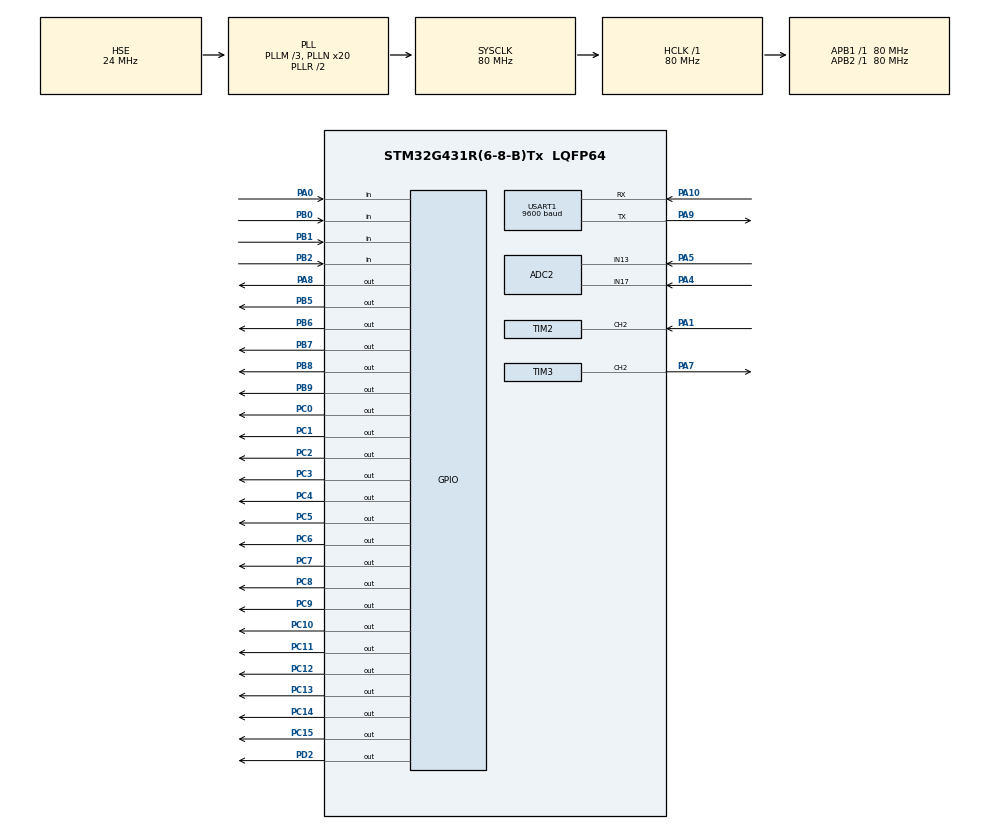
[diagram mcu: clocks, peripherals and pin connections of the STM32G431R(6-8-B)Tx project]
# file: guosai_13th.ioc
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ADC2.Channel-0\#ChannelRegularConversion=ADC_CHANNEL_17
ADC2.Channel-1\#ChannelRegularConversion=ADC_CHANNEL_13
ADC2.NbrOfConversion=2
ADC2.NbrOfConversionFlag=1
ADC2.OffsetNumber-0\#ChannelRegularConversion=ADC_OFFSET_NONE
ADC2.OffsetNumber-1\#ChannelRegularConversion=ADC_OFFSET_NONE
ADC2.Rank-0\#ChannelRegularConversion=1
ADC2.Rank-1\#ChannelRegularConversion=2
ADC2.SamplingTime-0\#ChannelRegularConversion=ADC_SAMPLETIME_640CYCLES_5
ADC2.SamplingTime-1\#ChannelRegularConversion=ADC_SAMPLETIME_640CYCLES_5
Mcu.Family=STM32G4
Mcu.Name=STM32G431R(6-8-B)Tx
Mcu.Package=LQFP64
NVIC.PriorityGroup=NVIC_PRIORITYGROUP_4
NVIC.TIM2_IRQn=true\:0\:0\:false\:false\:true\:true\:true\:true
NVIC.TIM4_IRQn=true\:0\:0\:false\:false\:true\:true\:true\:true
NVIC.USART1_IRQn=true\:0\:0\:false\:false\:true\:true\:true\:true
PA0.GPIO_PuPd=GPIO_PULLUP
PA0.Signal=GPIO_Input
PA1.Signal=S_TIM2_CH2
PA10.Mode=Asynchronous
PA10.Signal=USART1_RX
PA13.Mode=Serial_Wire
PA13.Signal=SYS_JTMS-SWDIO
PA14.Mode=Serial_Wire
PA14.Signal=SYS_JTCK-SWCLK
PA4.Mode=IN17-Single-Ended
PA4.Signal=ADC2_IN17
PA5.Mode=IN13-Single-Ended
PA5.Signal=ADC2_IN13
PA7.Signal=S_TIM3_CH2
PA8.Signal=GPIO_Output
PA9.Mode=Asynchronous
PA9.Signal=USART1_TX
PB0.GPIO_PuPd=GPIO_PULLUP
PB0.Signal=GPIO_Input
PB1.GPIO_PuPd=GPIO_PULLUP
PB1.Signal=GPIO_Input
PB2.GPIO_PuPd=GPIO_PULLUP
PB2.Signal=GPIO_Input
PB5.Signal=GPIO_Output
PB6.Signal=GPIO_Output
PB7.Signal=GPIO_Output
PB8-BOOT0.Signal=GPIO_Output
PB9.Signal=GPIO_Output
PC0.Signal=GPIO_Output
PC1.Signal=GPIO_Output
PC10.PinState=GPIO_PIN_SET
PC10.Signal=GPIO_Output
PC11.PinState=GPIO_PIN_SET
PC11.Signal=GPIO_Output
PC12.PinState=GPIO_PIN_SET
PC12.Signal=GPIO_Output
PC13.PinState=GPIO_PIN_SET
PC13.Signal=GPIO_Output
PC14-OSC32_IN.PinState=GPIO_PIN_SET
PC14-OSC32_IN.Signal=GPIO_Output
PC15-OSC32_OUT.PinState=GPIO_PIN_SET
PC15-OSC32_OUT.Signal=GPIO_Output
PC2.Signal=GPIO_Output
PC3.Signal=GPIO_Output
PC4.Signal=GPIO_Output
PC5.Signal=GPIO_Output
PC6.Signal=GPIO_Output
PC7.Signal=GPIO_Output
PC8.PinState=GPIO_PIN_SET
PC8.Signal=GPIO_Output
PC9.PinState=GPIO_PIN_SET
PC9.Signal=GPIO_Output
PD2.Signal=GPIO_Output
PF0-OSC_IN.Mode=HSE-External-Oscillator
PF0-OSC_IN.Signal=RCC_OSC_IN
PF1-OSC_OUT.Mode=HSE-External-Oscillator
PF1-OSC_OUT.Signal=RCC_OSC_OUT
ProjectManager.HeapSize=0x200
ProjectManager.StackSize=0x400
ProjectManager.TargetToolchain=MDK-ARM V5.32
RCC.ADC12Freq_Value=80000000
RCC.AHBFreq_Value=80000000
RCC.APB1Freq_Value=80000000
RCC.APB1TimFreq_Value=80000000
RCC.APB2Freq_Value=80000000
RCC.APB2TimFreq_Value=80000000
RCC.CortexFreq_Value=80000000
RCC.EXTERNAL_CLOCK_VALUE=12288000
RCC.HCLKFreq_Value=80000000
RCC.HSE_VALUE=24000000
RCC.HSI48_VALUE=48000000
RCC.HSI_VALUE=16000000
RCC.LSE_VALUE=32768
RCC.PLLM=RCC_PLLM_DIV3
RCC.PLLN=20
RCC.PLLSourceVirtual=RCC_PLLSOURCE_HSE
RCC.SYSCLKFreq_VALUE=80000000
RCC.SYSCLKSource=RCC_SYSCLKSOURCE_PLLCLK
RCC.USBFreq_Value=80000000
RCC.VCOOutputFreq_Value=160000000
SH.S_TIM2_CH2.0=TIM2_CH2,Input_Capture2_from_TI2
SH.S_TIM3_CH2.0=TIM3_CH2,PWM Generation2 CH2
TIM2.Channel-Input_Capture2_from_TI2=TIM_CHANNEL_2
TIM2.Prescaler=80-1
TIM3.Channel-PWM\ Generation2\ CH2=TIM_CHANNEL_2
TIM3.PeriodNoDither=10000-1
TIM3.Prescaler=80-1
TIM4.PeriodNoDither=10000-1
TIM4.Prescaler=80-1
USART1.BaudRate=9600
USART1.VirtualMode-Asynchronous=VM_ASYNC
VP_SYS_VS_DBSignals.Mode=DisableDeadBatterySignals
VP_TIM2_VS_ClockSourceINT.Mode=Internal
VP_TIM3_VS_ClockSourceINT.Mode=Internal
VP_TIM4_VS_ClockSourceINT.Mode=Internal
board=custom

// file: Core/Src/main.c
/* USER CODE BEGIN Header */
/**
  ******************************************************************************
  * @file           : main.c
  * @brief          : Main program body
  ******************************************************************************
  * @attention
  *
  * Copyright (c) 2024 STMicroelectronics.
  * All rights reserved.
  *
  * This software is licensed under terms that can be found in the LICENSE file
  * in the root directory of this software component.
  * If no LICENSE file comes with this software, it is provided AS-IS.
  *
  ******************************************************************************
  */
/* USER CODE END Header */
#include "main.h"
#include "adc.h"
#include "tim.h"
#include "usart.h"
#include "gpio.h"

/* USER CODE BEGIN Includes */

#include "stdio.h"
#include "string.h"
#include "led.h"
#include "lcd.h"
#include "i2c - hal.h"
#include "myadc.h"
#include "myusart.h"
#include "timer.h"

/* USER CODE END Includes */

/* USER CODE BEGIN PTD */

unsigned char ucled=0x00;
unsigned char lcd_text[30];
unsigned char usart_text[30];

__IO uint32_t uwTick_Lcd;
__IO uint32_t uwTick_Led;

unsigned char view;

double v_PA4;//P4电压
double v_PA5;//PA5电压
unsigned char display_PA45_flag=0;

unsigned char lcd_flag=0;

unsigned int x;//频率参数
unsigned int y;//电压参数

unsigned int N4=0;//电压数据记录次数
double A4=0.0;//电压最大值
double T4=0.0;//电压最小值
double H4=0.0;//平均值

unsigned int N5=0;//电压数据记录次数
double A5=0.0;//电压最大值
double T5=0.0;//电压最小值
double H5=0;//平均值

double sum4=0;//总值
double sum5=0;

unsigned char mode=0;
unsigned char LD3_flag=0;

/* USER CODE END PTD */

void SystemClock_Config(void);
/* USER CODE BEGIN PFP */

void key_proc(void);
void lcd_proc(void);
void FRQ_PA7(void);
void usart_proc(void);
void led_proc(void);

/* USER CODE END PFP */

int main(void)
{

  /* MCU Configuration--------------------------------------------------------*/

  /* Reset of all peripherals, Initializes the Flash interface and the Systick. */
  HAL_Init();

  /* Configure the system clock */
  SystemClock_Config();

  /* Initialize all configured peripherals */
  MX_GPIO_Init();
  MX_ADC2_Init();
  MX_TIM2_Init();
  MX_TIM3_Init();
  MX_TIM4_Init();
  MX_USART1_UART_Init();
  /* USER CODE BEGIN 2 */

    LCD_Init();
    LCD_Clear(Black);
    LCD_SetBackColor(Black);
    LCD_SetTextColor(White);

    led_disp(ucled);

    HAL_TIM_Base_Start_IT(&htim4);

    HAL_TIM_PWM_Start(&htim3,TIM_CHANNEL_2);

    HAL_TIM_IC_Start_IT(&htim2,TIM_CHANNEL_2);

    HAL_UART_Receive_IT(&huart1,&rxdat,1);

    if(eeprom_read(2)==0X67&&eeprom_read(3)==0X76)//不是第一次上电
    {
            x=eeprom_read(1);//从EEPROM读取频率参数
            y=eeprom_read(0);//从EEPROM读取电压参数
    }
    else//第一次上电
    {
        eeprom_write(1,x);
        HAL_Delay(5);
        eeprom_write(0,y);
        HAL_Delay(5);
        eeprom_write(2,0x67);
        HAL_Delay(5);
        eeprom_write(3,0x76);
        HAL_Delay(5);
    }

  /* USER CODE END 2 */

  /* Infinite loop */
  while (1)
  {

    /* USER CODE BEGIN 3 */
      key_proc();
      if(rx_pointer!=0)
      {
          int temp=rx_pointer;
          HAL_Delay(2);
          if(temp==rx_pointer)usart_proc();
      }
      FRQ_PA7();
      lcd_proc();
      led_proc();

  }
  /* USER CODE END 3 */
}

void SystemClock_Config(void)
{
  RCC_OscInitTypeDef RCC_OscInitStruct = {0};
  RCC_ClkInitTypeDef RCC_ClkInitStruct = {0};

  /** Configure the main internal regulator output voltage
  */
  HAL_PWREx_ControlVoltageScaling(PWR_REGULATOR_VOLTAGE_SCALE1);

  /** Initializes the RCC Oscillators according to the specified parameters
  * in the RCC_OscInitTypeDef structure.
  */
  RCC_OscInitStruct.OscillatorType = RCC_OSCILLATORTYPE_HSE;
  RCC_OscInitStruct.HSEState = RCC_HSE_ON;
  RCC_OscInitStruct.PLL.PLLState = RCC_PLL_ON;
  RCC_OscInitStruct.PLL.PLLSource = RCC_PLLSOURCE_HSE;
  RCC_OscInitStruct.PLL.PLLM = RCC_PLLM_DIV3;
  RCC_OscInitStruct.PLL.PLLN = 20;
  RCC_OscInitStruct.PLL.PLLP = RCC_PLLP_DIV2;
  RCC_OscInitStruct.PLL.PLLQ = RCC_PLLQ_DIV2;
  RCC_OscInitStruct.PLL.PLLR = RCC_PLLR_DIV2;
  if (HAL_RCC_OscConfig(&RCC_OscInitStruct) != HAL_OK)
  {
    Error_Handler();
  }

  /** Initializes the CPU, AHB and APB buses clocks
  */
  RCC_ClkInitStruct.ClockType = RCC_CLOCKTYPE_HCLK|RCC_CLOCKTYPE_SYSCLK
                              |RCC_CLOCKTYPE_PCLK1|RCC_CLOCKTYPE_PCLK2;
  RCC_ClkInitStruct.SYSCLKSource = RCC_SYSCLKSOURCE_PLLCLK;
  RCC_ClkInitStruct.AHBCLKDivider = RCC_SYSCLK_DIV1;
  RCC_ClkInitStruct.APB1CLKDivider = RCC_HCLK_DIV1;
  RCC_ClkInitStruct.APB2CLKDivider = RCC_HCLK_DIV1;

  if (HAL_RCC_ClockConfig(&RCC_ClkInitStruct, FLASH_LATENCY_2) != HAL_OK)
  {
    Error_Handler();
  }
}

/* USER CODE BEGIN 4 */

void lcd_proc(void)
{
    if((uwTick-uwTick_Lcd)<100)return;
    uwTick_Lcd=uwTick;

    switch(view)
    {
        case 0://数据界面
            memset(lcd_text,0,sizeof(lcd_text));
            sprintf((char *)lcd_text,"        DATA      ");
            LCD_DisplayStringLine(Line1,lcd_text);

            memset(lcd_text,0,sizeof(lcd_text));
            sprintf((char *)lcd_text,"     PA4=%0.2f     ",v_PA4);
            LCD_DisplayStringLine(Line3,lcd_text);

            memset(lcd_text,0,sizeof(lcd_text));
            sprintf((char *)lcd_text,"     PA5=%0.2f     ",v_PA5);
            LCD_DisplayStringLine(Line4,lcd_text);

            memset(lcd_text,0,sizeof(lcd_text));
            sprintf((char *)lcd_text,"     PA1=%d     ",frq);
            LCD_DisplayStringLine(Line5,lcd_text);

            break;
        case 1://参数界面
            memset(lcd_text,0,sizeof(lcd_text));
            sprintf((char *)lcd_text,"        PARA      ");
            LCD_DisplayStringLine(Line1,lcd_text);

            memset(lcd_text,0,sizeof(lcd_text));
            sprintf((char *)lcd_text,"     X=%d     ",x);
            LCD_DisplayStringLine(Line3,lcd_text);

            memset(lcd_text,0,sizeof(lcd_text));
            sprintf((char *)lcd_text,"     Y=%d     ",y);
            LCD_DisplayStringLine(Line4,lcd_text);
            break;
        case 2://记录界面

           if(0==display_PA45_flag){
            memset(lcd_text,0,sizeof(lcd_text));
            sprintf((char *)lcd_text,"        REC-PA4      ");
            LCD_DisplayStringLine(Line1,lcd_text);

            memset(lcd_text,0,sizeof(lcd_text));
            sprintf((char *)lcd_text,"     N=%d     ",N4);
            LCD_DisplayStringLine(Line3,lcd_text);

            memset(lcd_text,0,sizeof(lcd_text));
            sprintf((char *)lcd_text,"     A=%0.2f     ",A4);
            LCD_DisplayStringLine(Line4,lcd_text);

            memset(lcd_text,0,sizeof(lcd_text));
            sprintf((char *)lcd_text,"     T=%0.2f     ",T4);
            LCD_DisplayStringLine(Line5,lcd_text);

            memset(lcd_text,0,sizeof(lcd_text));
            sprintf((char *)lcd_text,"     H=%0.2f     ",H4);
            LCD_DisplayStringLine(Line6,lcd_text);
           }
           else if(1==display_PA45_flag)
           {
            memset(lcd_text,0,sizeof(lcd_text));
            sprintf((char *)lcd_text,"        REC-PA5      ");
            LCD_DisplayStringLine(Line1,lcd_text);

            memset(lcd_text,0,sizeof(lcd_text));
            sprintf((char *)lcd_text,"     N=%d     ",N5);
            LCD_DisplayStringLine(Line3,lcd_text);

            memset(lcd_text,0,sizeof(lcd_text));
            sprintf((char *)lcd_text,"     A=%0.2f     ",A5);
            LCD_DisplayStringLine(Line4,lcd_text);

            memset(lcd_text,0,sizeof(lcd_text));
            sprintf((char *)lcd_text,"     T=%0.2f     ",T5);
            LCD_DisplayStringLine(Line5,lcd_text);

            memset(lcd_text,0,sizeof(lcd_text));
            sprintf((char *)lcd_text,"     H=%0.2f     ",H5);
            LCD_DisplayStringLine(Line6,lcd_text);
           }

            break;
    }
}

void key_proc(void)
{
    if(1==key[0].single_flag)//切换界面按键
    {
        key[0].single_flag=0;
        view++;
        if(3==view)view=0;
        display_PA45_flag=0;
        LCD_Clear(Black);
    }
    else if(1==key[1].single_flag)//频率参数调整按键
    {
        key[1].single_flag=0;
        if(1==view)//参数界面下
        {
            x++;
            if(5==x)x=1;
        }
    }
    else if(1==key[2].single_flag)//电压参数调整按键
    {
        key[2].single_flag=0;
        if(1==view)
        {
            y++;
            if(5==y)y=1;
        }
    }

    if(1==key[3].single_flag)
    {
        key[3].single_flag=0;

        if(0==view)//启动一次电压测量功能，LCD屏的电压数据更新一次
        {
            v_PA4=GetAdc(&hadc2);
            v_PA5=GetAdc(&hadc2);
            HAL_Delay(10);
            v_PA4=GetAdc(&hadc2);
            v_PA5=GetAdc(&hadc2);

            //记录次数增加
            N4++;
            N5++;

            //电压最大值（A）

            if(v_PA4>A4)A4=v_PA4;
            if(v_PA5>A5)A5=v_PA5;

            //电压最小值（T）
            if(0==T4)T4=v_PA4;
            else if(v_PA4<T4)T4=v_PA4;
            if(0==T5)T5=v_PA5;
            else if(v_PA5<T5)T5=v_PA5;

            //平均值（H）
            sum4+=v_PA4;
            sum5+=v_PA5;

            H4=sum4/N4;
            H5=sum5/N5;

        }
        else if(1==view)//可以往复切换脉冲输出模式为倍频模式或分频模式
        {
            mode=!mode;
        }

        else if(2==view)//往复切换不同测量通道的记录结果
        {
            display_PA45_flag=!display_PA45_flag;
            LCD_Clear(Black);
        }

    }
     if(1==key[3].long_flag)//长按1秒后松开，清零当前通道的全部数据记录结果
    {
        key[3].long_flag=0;
        if(2==view){
        N4=0;//电压数据记录次数
        A4=0;//电压最大值
        T4=0;//电压最小值
        H4=0;//平均值

        N5=0;//电压数据记录次数
        A5=0;//电压最大值
        T5=0;//电压最小值
        H5=0;//平均值
        }
    }

    eeprom_write(0,y);//0地址：保存电压参数
    eeprom_write(1,x);//1地址：保存频率参数
}

void FRQ_PA7(void)
{
     //通过 PA7引脚输出脉冲信号，输出信号频率按照频率参数和脉冲输出模式进行配置。
    //FPA7 = FPA1 * 频率参数
    //FPA7 = FPA1 / 频率参数
    if(0==mode)//倍频模式
    {
        //频率=（80MHZ/预分频系数）/重装载值
        //设置预分频系数
        __HAL_TIM_SET_CAPTUREPOLARITY(&htim3,TIM_CHANNEL_2,(80000000)/(frq*x)/10000);
    }
    else if(1==mode)//分频模式
    {
        //设置预分频系数
        __HAL_TIM_SET_CAPTUREPOLARITY(&htim3,TIM_CHANNEL_2,(80000000)/(frq/x)/10000);
    }
}

void usart_proc(void)
{
    if(rx_pointer!=0)
    {

        if(0==strcmp((char *)rxdata,"X"))//返回当前频率参数。
        {
            memset(usart_text,0,sizeof(usart_text));
            sprintf((char *)usart_text,"X:%d",x);
            HAL_UART_Transmit(&huart1,usart_text,3,50);
        }
        else if(0==strcmp((char *)rxdata,"Y"))//返回当前电压参数。
        {
            memset(usart_text,0,sizeof(usart_text));
            sprintf((char *)usart_text,"Y:%d",y);
            HAL_UART_Transmit(&huart1,usart_text,3,50);
        }
        else if(0==strcmp((char *)rxdata,"PA1"))//返回 PA1 通道实时测量到的频率数据。
        {
            memset(usart_text,0,sizeof(usart_text));
            sprintf((char *)usart_text,"PA1:%d",frq);
            HAL_UART_Transmit(&huart1,usart_text,10,50);
        }
        else if(0==strcmp((char *)rxdata,"PA4"))//返回 PA4 通道当前测量到的电压数据。
        {
            // double v_PA4v=GetAdc(&hadc2);
            // double v_PA5v=GetAdc(&hadc2);
            memset(usart_text,0,sizeof(usart_text));
            sprintf((char *)usart_text,"PA4:%0.2f",v_PA4);
            HAL_UART_Transmit(&huart1,usart_text,10,50);
        }
        else if(0==strcmp((char *)rxdata,"PA5"))//返回 PA5 通道当前测量到的电压数据。
        {
            //double v_PA4v=GetAdc(&hadc2);
            //double v_PA5v=GetAdc(&hadc2);
            memset(usart_text,0,sizeof(usart_text));
            sprintf((char *)usart_text,"PA5:%0.2f",v_PA5);
            HAL_UART_Transmit(&huart1,usart_text,10,50);
        }
        else if(0==strcmp((char *)rxdata,"#"))//切换 LCD 屏幕显示模式,翻转显示模式
        {
            lcd_flag=!lcd_flag;
            if(0==lcd_flag)//正向显示
            {
                LCD_WriteReg( R1 ,0x0000 );////从上往下
                LCD_WriteReg( R96,0x2700 );//从左往右
                LCD_Clear(Black);
            }
            else if(1==lcd_flag)//反向显示
            {
                LCD_WriteReg( R1 ,0x0100 );////垂直对称翻转，从下往上
                LCD_WriteReg( R96,0xA700 );//水平对称翻转，从右往左
                LCD_Clear(Black);
            }
        }

        rx_pointer=0;
        memset(rxdata,0,sizeof(rxdata));
    }
}

void led_proc(void)
{
    if((uwTick-uwTick_Led)<50)return;
    uwTick_Led=uwTick;
    if(0==mode)//倍频模式，LD1亮，LD2灭
    {
        ucled|=0x01;
        ucled&=0xfd;
    }
    else if(1==mode)//分频模式,LD1灭,LD2亮
    {
        ucled|=0x02;
        ucled&=0xfe;
    }

    if(v_PA4>(v_PA5*y))//指示灯 LD3 以 0.1 秒为间隔切换亮灭状态，否则熄灭
    {
        LD3_flag=1;
    }
    else
    {
        ucled&=0xfb;
        LD3_flag=0;
    }

    if(0==lcd_flag)//正向,LD4亮
    {
        ucled|=0x08;
    }
    else if(1==lcd_flag)//LD4灭
    {
        ucled&=0xf7;
    }

    led_disp(ucled);
}

/* USER CODE END 4 */

void Error_Handler(void)
{
  __disable_irq();
  while (1)
  {
  }
}
